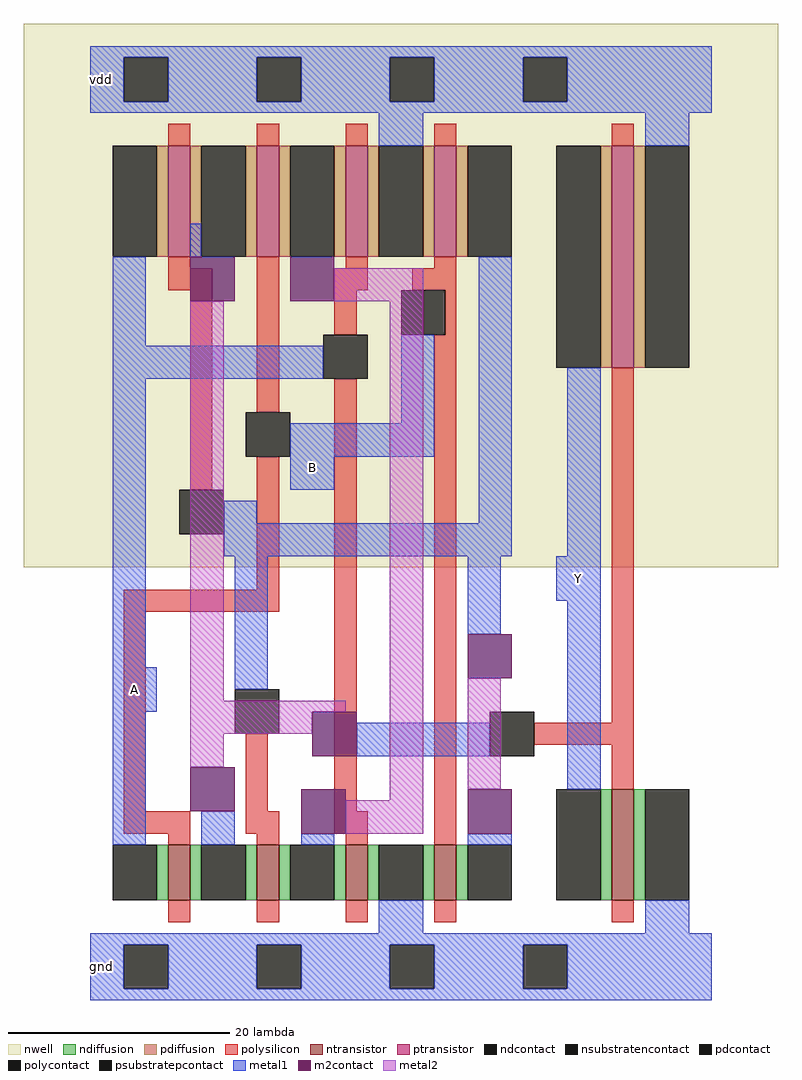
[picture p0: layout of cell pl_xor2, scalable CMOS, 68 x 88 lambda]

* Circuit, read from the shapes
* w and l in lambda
.subckt pl_xor2 A B Y vdd gnd
M1 n1 B A gnd nfet w=5 l=2
M2 n2 n3 n1 gnd nfet w=5 l=2
M3 gnd A n2 gnd nfet w=5 l=2
M4 n3 B gnd gnd nfet w=5 l=2
M5 gnd n1 Y gnd nfet w=10 l=2
M6 n1 n3 A vdd pfet w=10 l=2
M7 n2 B n1 vdd pfet w=10 l=2
M8 vdd A n2 vdd pfet w=10 l=2
M9 n3 B vdd vdd pfet w=10 l=2
M10 vdd n1 Y vdd pfet w=20 l=2
.ends

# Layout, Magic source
magic
tech scmos
<< nwell >>
rect -6 36 62 85
<< ndiffusion >>
rect 6 6 7 11
rect 9 6 10 11
rect 14 6 15 11
rect 17 6 18 11
rect 22 6 23 11
rect 25 6 26 11
rect 30 6 31 11
rect 33 6 34 11
rect 46 6 47 16
rect 49 6 50 16
<< pdiffusion >>
rect 46 54 47 74
rect 49 54 50 74
rect 6 64 7 74
rect 9 64 10 74
rect 14 64 15 74
rect 17 64 18 74
rect 22 64 23 74
rect 25 64 26 74
rect 30 64 31 74
rect 33 64 34 74
<< polysilicon >>
rect 7 4 9 6
rect 15 4 17 6
rect 23 4 25 6
rect 31 4 33 6
rect 47 4 49 6
rect 7 11 9 12
rect 15 11 17 12
rect 23 11 25 12
rect 31 11 33 57
rect 3 12 9 14
rect 14 12 17 14
rect 22 12 25 14
rect 3 14 5 32
rect 14 14 16 21
rect 22 14 24 53
rect 47 16 49 20
rect 40 20 49 22
rect 47 22 49 54
rect 3 32 17 34
rect 15 34 17 46
rect 9 43 11 61
rect 15 50 17 64
rect 22 57 24 61
rect 32 57 33 61
rect 7 61 11 63
rect 22 61 25 63
rect 29 61 33 63
rect 7 63 9 64
rect 23 63 25 64
rect 31 63 33 64
rect 7 74 9 76
rect 15 74 17 76
rect 23 74 25 76
rect 31 74 33 76
rect 47 74 49 76
<< ntransistor >>
rect 7 6 9 11
rect 15 6 17 11
rect 23 6 25 11
rect 31 6 33 11
rect 47 6 49 16
<< ptransistor >>
rect 47 54 49 74
rect 7 64 9 74
rect 15 64 17 74
rect 23 64 25 74
rect 31 64 33 74
<< ndcontact >>
rect 2 6 6 11
rect 10 6 14 11
rect 18 6 22 11
rect 26 6 30 11
rect 34 6 38 11
rect 42 6 46 16
rect 50 6 54 16
<< pdcontact >>
rect 42 54 46 74
rect 50 54 54 74
rect 2 64 6 74
rect 10 64 14 74
rect 18 64 22 74
rect 26 64 30 74
rect 34 64 38 74
<< polycontact >>
rect 36 19 40 23
rect 13 21 17 25
rect 8 39 12 43
rect 14 46 18 50
rect 21 53 25 57
rect 28 57 32 61
<< psubstratepcontact >>
rect 3 -2 7 2
rect 15 -2 19 2
rect 27 -2 31 2
rect 39 -2 43 2
<< nsubstratencontact >>
rect 3 78 7 82
rect 15 78 19 82
rect 27 78 31 82
rect 39 78 43 82
<< metal1 >>
rect 0 -3 56 -2
rect 0 -2 3 2
rect 7 -2 15 2
rect 19 -2 27 2
rect 31 -2 39 2
rect 43 -2 56 2
rect 0 2 56 3
rect 26 3 30 6
rect 50 3 54 6
rect 2 11 5 23
rect 10 11 13 14
rect 19 11 22 12
rect 34 11 38 12
rect 43 16 46 33
rect 24 19 36 22
rect 2 23 6 27
rect 13 25 16 37
rect 2 27 5 53
rect 34 30 37 37
rect 42 33 46 37
rect 12 37 38 40
rect 43 37 46 54
rect 12 40 15 42
rect 35 40 38 64
rect 18 43 22 46
rect 18 46 31 49
rect 28 49 31 57
rect 2 53 21 56
rect 2 56 5 64
rect 9 64 10 67
rect 26 74 30 77
rect 50 74 54 77
rect 0 77 56 78
rect 0 78 3 82
rect 7 78 15 82
rect 19 78 27 82
rect 31 78 39 82
rect 43 78 56 82
rect 0 82 56 83
<< m2contact >>
rect 19 12 23 16
rect 34 12 38 16
rect 9 14 13 18
rect 20 19 24 23
rect 34 26 38 30
rect 9 60 13 64
rect 18 60 22 64
<< metal2 >>
rect 23 12 30 15
rect 27 15 30 60
rect 34 16 37 26
rect 9 18 12 21
rect 9 21 20 23
rect 9 23 23 24
rect 9 24 12 60
rect 22 60 30 63
<< labels >>
rlabel metal1 s 2 23 6 27 0 A
port 1 nsew signal input
rlabel metal1 s 18 43 22 47 0 B
port 2 nsew signal input
rlabel metal1 s 42 33 46 37 0 Y
port 3 nsew signal output
rlabel metal1 s 0 77 2 83 0 vdd
port 4 nsew power bidirectional
rlabel metal1 s 0 -3 2 3 0 gnd
port 5 nsew ground bidirectional
<< properties >>
string FIXED_BBOX 0 0 56 80
<< end >>
